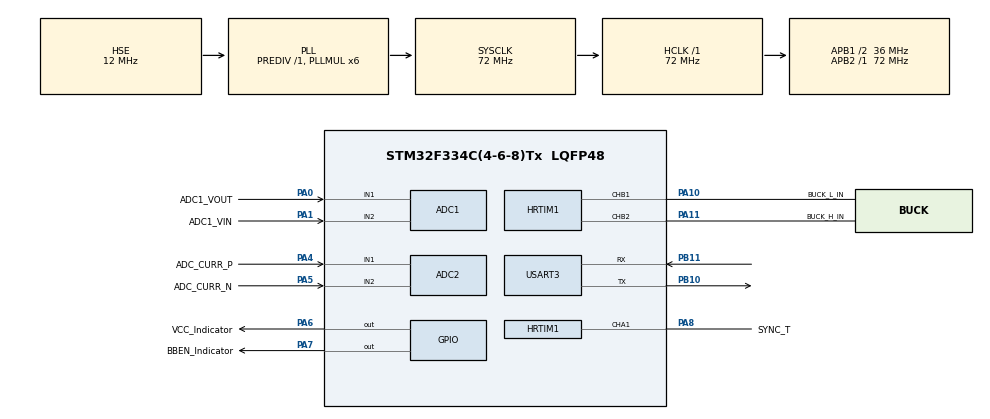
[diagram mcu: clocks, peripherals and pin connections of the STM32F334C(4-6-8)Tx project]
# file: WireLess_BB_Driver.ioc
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ADC1.AWD1HighThreshold=4095
ADC1.Channel-0\#ChannelRegularConversion=ADC_CHANNEL_1
ADC1.Channel-1\#ChannelRegularConversion=ADC_CHANNEL_2
ADC1.ClockPrescaler=ADC_CLOCK_ASYNC_DIV1
ADC1.ContinuousConvMode=DISABLE
ADC1.DMAContinuousRequests=ENABLE
ADC1.EnableAnalogWatchDog1=true
ADC1.EnableAnalogWatchDog2=false
ADC1.EnableInjectedConversion=DISABLE
ADC1.ExternalTrigConv=ADC_EXTERNALTRIGCONVHRTIM_TRG1
ADC1.NbrOfConversion=2
ADC1.NbrOfConversionFlag=1
ADC1.Offset-0\#ChannelRegularConversion=0
ADC1.Offset-1\#ChannelRegularConversion=0
ADC1.OffsetNumber-0\#ChannelRegularConversion=ADC_OFFSET_NONE
ADC1.OffsetNumber-1\#ChannelRegularConversion=ADC_OFFSET_NONE
ADC1.Overrun=ADC_OVR_DATA_OVERWRITTEN
ADC1.Rank-0\#ChannelRegularConversion=1
ADC1.Rank-1\#ChannelRegularConversion=2
ADC1.SamplingTime-0\#ChannelRegularConversion=ADC_SAMPLETIME_7CYCLES_5
ADC1.SamplingTime-1\#ChannelRegularConversion=ADC_SAMPLETIME_7CYCLES_5
ADC1.SequencerNbRanks=2
ADC1.SubFamily=STM32F334x8
ADC1.master=1
ADC2.Channel-0\#ChannelRegularConversion=ADC_CHANNEL_1
ADC2.ContinuousConvMode=DISABLE
ADC2.DMAContinuousRequests=ENABLE
ADC2.ExternalTrigConv=ADC_EXTERNALTRIGCONVHRTIM_TRG3
ADC2.NbrOfConversion=1
ADC2.NbrOfConversionFlag=1
ADC2.Offset-0\#ChannelRegularConversion=0
ADC2.OffsetNumber-0\#ChannelRegularConversion=ADC_OFFSET_NONE
ADC2.Rank-0\#ChannelRegularConversion=1
ADC2.SamplingTime-0\#ChannelRegularConversion=ADC_SAMPLETIME_7CYCLES_5
ADC2.SequencerNbRanks=1
ADC2.SingleDiff-0\#ChannelRegularConversion=ADC_DIFFERENTIAL_ENDED
ADC2.SubFamily=STM32F334x8
Dma.ADC1.0.Direction=DMA_PERIPH_TO_MEMORY
Dma.ADC1.0.Instance=DMA1_Channel1
Dma.ADC1.0.MemDataAlignment=DMA_MDATAALIGN_HALFWORD
Dma.ADC1.0.MemInc=DMA_MINC_ENABLE
Dma.ADC1.0.Mode=DMA_CIRCULAR
Dma.ADC1.0.PeriphDataAlignment=DMA_PDATAALIGN_HALFWORD
Dma.ADC1.0.PeriphInc=DMA_PINC_DISABLE
Dma.ADC1.0.Priority=DMA_PRIORITY_LOW
Dma.ADC2.1.Direction=DMA_PERIPH_TO_MEMORY
Dma.ADC2.1.Instance=DMA1_Channel4
Dma.ADC2.1.MemDataAlignment=DMA_MDATAALIGN_HALFWORD
Dma.ADC2.1.MemInc=DMA_MINC_ENABLE
Dma.ADC2.1.Mode=DMA_CIRCULAR
Dma.ADC2.1.PeriphDataAlignment=DMA_PDATAALIGN_HALFWORD
Dma.ADC2.1.PeriphInc=DMA_PINC_DISABLE
Dma.ADC2.1.Priority=DMA_PRIORITY_LOW
Dma.Request0=ADC1
Dma.Request1=ADC2
Dma.Request2=USART3_RX
Dma.Request3=USART3_TX
Dma.USART3_RX.2.Direction=DMA_PERIPH_TO_MEMORY
Dma.USART3_RX.2.Instance=DMA1_Channel3
Dma.USART3_RX.2.MemDataAlignment=DMA_MDATAALIGN_BYTE
Dma.USART3_RX.2.MemInc=DMA_MINC_ENABLE
Dma.USART3_RX.2.Mode=DMA_NORMAL
Dma.USART3_RX.2.PeriphDataAlignment=DMA_PDATAALIGN_BYTE
Dma.USART3_RX.2.PeriphInc=DMA_PINC_DISABLE
Dma.USART3_RX.2.Priority=DMA_PRIORITY_LOW
Dma.USART3_TX.3.Direction=DMA_MEMORY_TO_PERIPH
Dma.USART3_TX.3.Instance=DMA1_Channel2
Dma.USART3_TX.3.MemDataAlignment=DMA_MDATAALIGN_BYTE
Dma.USART3_TX.3.MemInc=DMA_MINC_DISABLE
Dma.USART3_TX.3.Mode=DMA_NORMAL
Dma.USART3_TX.3.PeriphDataAlignment=DMA_PDATAALIGN_BYTE
Dma.USART3_TX.3.PeriphInc=DMA_PINC_DISABLE
Dma.USART3_TX.3.Priority=DMA_PRIORITY_LOW
HRTIM1.ADCTrigger1_Source1=HRTIM_ADCTRIGGEREVENT13_TIMERC_CMP2
HRTIM1.ADCTrigger3_Source1=HRTIM_ADCTRIGGEREVENT13_TIMERC_CMP3
HRTIM1.ADCTrigger_Id1=HRTIM_ADCTRIGGER_1
HRTIM1.ADCTrigger_Id2=__NULL
HRTIM1.ADCTrigger_Id3=HRTIM_ADCTRIGGER_3
HRTIM1.BurstDMAconfig-No_output_TC=__NULL
HRTIM1.CompareUnit1-Output_TA1=__NULL
HRTIM1.CompareUnit1-Output_TB1TB2=HRTIM_COMPAREUNIT_1
HRTIM1.CompareUnit2-No_output_TC=HRTIM_COMPAREUNIT_2
HRTIM1.CompareUnit2-Output_TA1=HRTIM_COMPAREUNIT_2
HRTIM1.CompareUnit2-Output_TB1TB2=HRTIM_COMPAREUNIT_2
HRTIM1.CompareUnit3-No_output_TC=HRTIM_COMPAREUNIT_3
HRTIM1.CompareUnit3-Output_TA1=HRTIM_COMPAREUNIT_3
HRTIM1.CompareUnit3-Output_TB1TB2=__NULL
HRTIM1.CompareUnit4-Output_TA1=HRTIM_COMPAREUNIT_4
HRTIM1.CompareValue1-Output_TB1TB2=(Hrtim_Period - Hrtim_Period/2)/2*0.95
HRTIM1.CompareValue2-No_output_TC=Hrtim_Period/4
HRTIM1.CompareValue2-Output_TA1=Hrtim_Period
HRTIM1.CompareValue2-Output_TB1TB2=(Hrtim_Period + Hrtim_Period/2)/2*0.95
HRTIM1.CompareValue3-No_output_TC=Hrtim_Period/4+96
HRTIM1.CompareValue3-Output_TA1=Hrtim_Period/32
HRTIM1.CompareValue4-Output_TA1=Hrtim_Period/32+96
HRTIM1.DeadTimeInsertion-Output_TB1TB2=HRTIM_TIMDEADTIMEINSERTION_ENABLED
HRTIM1.Event_EEV1=__NULL
HRTIM1.FallingLock-Output_TB1TB2=HRTIM_TIMDEADTIME_FALLINGLOCK_READONLY
HRTIM1.FallingValue-Output_TB1TB2=10
HRTIM1.NumberADCTriggerSource1=1
HRTIM1.NumberADCTriggerSource3=1
HRTIM1.NumberResetSource1-Output_TA1=1
HRTIM1.NumberResetSource1-Output_TB1TB2=1
HRTIM1.NumberResetTrigger-No_output_TC=1
HRTIM1.NumberResetTrigger-Output_TA1=1
HRTIM1.NumberResetTrigger-Output_TB1TB2=2
HRTIM1.NumberSetSource1-Output_TA1=1
HRTIM1.NumberSetSource1-Output_TB1TB2=1
HRTIM1.NumberUpdateTrigger-No_output_TC=0
HRTIM1.NumberUpdateTrigger-Output_TA1=0
HRTIM1.ORingUpdateSource_ADCTrigger1=HRTIM_ADCTRIGGERUPDATE_TIMER_C
HRTIM1.ORingUpdateSource_ADCTrigger3=HRTIM_ADCTRIGGERUPDATE_TIMER_C
HRTIM1.Periode_TA=Hrtim_Period
HRTIM1.Periode_TB=Hrtim_Period
HRTIM1.Periode_TC=Hrtim_Period
HRTIM1.Polarity2-Output_TB1TB2=HRTIM_OUTPUTPOLARITY_HIGH
HRTIM1.PrescalerDead-Output_TB1TB2=HRTIM_TIMDEADTIME_PRESCALERRATIO_DIV1
HRTIM1.PrescalerRatio_TA=HRTIM_PRESCALERRATIO_MUL2
HRTIM1.PrescalerRatio_TC=HRTIM_PRESCALERRATIO_MUL16
HRTIM1.PushPull-Output_TB1TB2=HRTIM_TIMPUSHPULLMODE_DISABLED
HRTIM1.ResetOutput1_Source1-Output_TA1=HRTIM_OUTPUTRESET_TIMCMP4
HRTIM1.ResetOutput1_Source1-Output_TB1TB2=HRTIM_OUTPUTRESET_TIMCMP2
HRTIM1.ResetTrigger1-No_output_TC=HRTIM_TIMRESETTRIGGER_OTHER1_CMP2
HRTIM1.ResetTrigger1-Output_TA1=HRTIM_TIMRESETTRIGGER_CMP2
HRTIM1.ResetTrigger1-Output_TB1TB2=HRTIM_TIMRESETTRIGGER_UPDATE
HRTIM1.ResetTrigger2-Output_TB1TB2=HRTIM_TIMRESETTRIGGER_OTHER1_CMP2
HRTIM1.ResetUpdate-No_output_TC=HRTIM_TIMUPDATEONRESET_ENABLED
HRTIM1.ResetUpdate-Output_TA1=HRTIM_TIMUPDATEONRESET_ENABLED
HRTIM1.RisingLock-Output_TB1TB2=HRTIM_TIMDEADTIME_RISINGLOCK_READONLY
HRTIM1.RisingValue-Output_TB1TB2=10
HRTIM1.SetOutput1_Source1-Output_TA1=HRTIM_OUTPUTSET_TIMCMP3
HRTIM1.SetOutput1_Source1-Output_TB1TB2=HRTIM_OUTPUTSET_TIMCMP1
HRTIM1.UpdateGating-Output_TB1TB2=HRTIM_UPDATEGATING_DMABURST
Mcu.Family=STM32F3
Mcu.Name=STM32F334C(4-6-8)Tx
Mcu.Package=LQFP48
Mcu.UserConstants=L_duty,0.05f;deadtime,100;H_duty,0.95f;Hrtim_Period,23040
NVIC.DMA1_Channel1_IRQn=true\:1\:0\:true\:false\:true\:false\:true\:true
NVIC.DMA1_Channel2_IRQn=true\:1\:0\:true\:false\:true\:false\:true\:true
NVIC.DMA1_Channel3_IRQn=true\:1\:0\:true\:false\:true\:false\:true\:true
NVIC.DMA1_Channel4_IRQn=true\:1\:0\:true\:false\:true\:false\:true\:true
NVIC.PriorityGroup=NVIC_PRIORITYGROUP_4
NVIC.TIM1_TRG_COM_TIM17_IRQn=true\:0\:0\:true\:false\:true\:false\:true\:true
NVIC.TIM2_IRQn=true\:0\:0\:false\:false\:true\:true\:true\:true
NVIC.TimeBase=TIM1_TRG_COM_TIM17_IRQn
NVIC.TimeBaseIP=TIM17
NVIC.USART3_IRQn=true\:0\:0\:false\:false\:true\:true\:true\:true
PA0.GPIO_Label=ADC1_VOUT
PA0.Mode=IN1-Single-Ended
PA0.Signal=ADC1_IN1
PA1.GPIO_Label=ADC1_VIN
PA1.Mode=IN2-Single-Ended
PA1.Signal=ADC1_IN2
PA10.GPIO_Label=BUCK_L_IN
PA10.Mode=Output_TB1TB2
PA10.Signal=HRTIM1_CHB1
PA11.GPIO_Label=BUCK_H_IN
PA11.Mode=Output_TB1TB2
PA11.Signal=HRTIM1_CHB2
PA13.Mode=Serial_Wire
PA13.Signal=SYS_JTMS-SWDIO
PA14.Mode=Serial_Wire
PA14.Signal=SYS_JTCK-SWCLK
PA4.GPIO_Label=ADC_CURR_P
PA4.Mode=IN1-Differential
PA4.Signal=ADC2_IN1
PA5.GPIO_Label=ADC_CURR_N
PA5.Mode=IN1-Differential
PA5.Signal=ADC2_IN2
PA6.GPIO_Label=VCC_Indicator
PA6.Signal=GPIO_Output
PA7.GPIO_Label=BBEN_Indicator
PA7.GPIO_PuPd=GPIO_PULLDOWN
PA7.Signal=GPIO_Output
PA8.GPIO_Label=SYNC_T
PA8.Mode=Output_TA1
PA8.Signal=HRTIM1_CHA1
PB10.Mode=Asynchronous
PB10.Signal=USART3_TX
PB11.Mode=Asynchronous
PB11.Signal=USART3_RX
PF0\ /\ OSC_IN.Mode=HSE-External-Oscillator
PF0\ /\ OSC_IN.Signal=RCC_OSC_IN
PF1\ /\ OSC_OUT.Mode=HSE-External-Oscillator
PF1\ /\ OSC_OUT.Signal=RCC_OSC_OUT
ProjectManager.HeapSize=0x200
ProjectManager.StackSize=0x400
ProjectManager.TargetToolchain=Makefile
RCC.ADC12PRES=RCC_ADC12PLLCLK_DIV2
RCC.AHBFreq_Value=72000000
RCC.APB1CLKDivider=RCC_HCLK_DIV2
RCC.APB1Freq_Value=36000000
RCC.APB1TimFreq_Value=72000000
RCC.APB2Freq_Value=72000000
RCC.APB2TimFreq_Value=72000000
RCC.CortexFreq_Value=72000000
RCC.HCLKFreq_Value=72000000
RCC.HRTIMSelection=RCC_HRTIM1CLK_PLLCLK
RCC.HSE_VALUE=12000000
RCC.HSI_VALUE=8000000
RCC.LSE_VALUE=32768
RCC.PLLMUL=RCC_PLL_MUL6
RCC.PLLSourceVirtual=RCC_PLLSOURCE_HSE
RCC.SYSCLKFreq_VALUE=72000000
RCC.SYSCLKSourceVirtual=RCC_SYSCLKSOURCE_PLLCLK
TIM2.Period=100-1
TIM2.Prescaler=72-1
USART3.OverSampling=UART_OVERSAMPLING_8
USART3.VirtualMode-Asynchronous=VM_ASYNC
VP_HRTIM1_VS_hrtimTimerCNoOutput.Mode=No_output_TC
VP_SYS_VS_tim17.Mode=TIM17
VP_TIM2_VS_ClockSourceINT.Mode=Internal
board=custom

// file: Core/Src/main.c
/* USER CODE BEGIN Header */
/**
  ******************************************************************************
  * @file           : main.c
  * @brief          : Main program body
  ******************************************************************************
  * @attention
  *
  * Copyright (c) 2025 STMicroelectronics.
  * All rights reserved.
  *
  * This software is licensed under terms that can be found in the LICENSE file
  * in the root directory of this software component.
  * If no LICENSE file comes with this software, it is provided AS-IS.
  *
  ******************************************************************************
  */
/* USER CODE END Header */
#include "main.h"
#include "adc.h"
#include "dma.h"
#include "hrtim.h"
#include "tim.h"
#include "usart.h"
#include "gpio.h"

/* USER CODE BEGIN Includes */
#include "bsp_adc.h"
#include "bsp_dwt.h"
#include "bsp_uart.h"
#include "bb_control.h"
#include "board_id.h"
#include "detect_task.h"
/* USER CODE END Includes */

/* USER CODE BEGIN PV */
GPIO_PinState switch_on_off;
/* USER CODE END PV */

void SystemClock_Config(void);

int main(void)
{

  /* MCU Configuration--------------------------------------------------------*/

  /* Reset of all peripherals, Initializes the Flash interface and the Systick. */
  HAL_Init();

  /* Configure the system clock */
  SystemClock_Config();

  /* Initialize all configured peripherals */
  MX_GPIO_Init();
  MX_DMA_Init();
  MX_ADC1_Init();
  MX_HRTIM1_Init();
  MX_TIM2_Init();
  MX_ADC2_Init();
  MX_USART3_UART_Init();
  /* USER CODE BEGIN 2 */

  IDCard = BoardID_Detect();
  while (!BoardID_IsValid(IDCard)) {}

  HRTIM1->sMasterRegs.MCMP1R = Hrtim_Period;
  HRTIM1->sMasterRegs.MCMP2R = 0;
  DWT_Init(72);
  DWT_Delay(1.25);

  BB_Control_Init();
  Detect_Init();
  Bsp_UART_Init();
  HAL_TIM_Base_Start_IT(&htim2);
  Bsp_ADC_Init();
  // HAL_TIM_Base_Start_IT(&htim15);

  /* USER CODE END 2 */

  /* Infinite loop */
  /* USER CODE BEGIN WHILE */
  while (1)
  {
    // switch_on_off = HAL_GPIO_ReadPin(GPIOB,GPIO_PIN_10);
    // HAL_GPIO_WritePin(GPIOA,GPIO_PIN_7,switch_on_off);

    /* USER CODE END WHILE */

    /* USER CODE BEGIN 3 */
    //HAL_Delay(1);
  }
  /* USER CODE END 3 */
}

void SystemClock_Config(void)
{
  RCC_OscInitTypeDef RCC_OscInitStruct = {0};
  RCC_ClkInitTypeDef RCC_ClkInitStruct = {0};
  RCC_PeriphCLKInitTypeDef PeriphClkInit = {0};

  /** Initializes the RCC Oscillators according to the specified parameters
  * in the RCC_OscInitTypeDef structure.
  */
  RCC_OscInitStruct.OscillatorType = RCC_OSCILLATORTYPE_HSE;
  RCC_OscInitStruct.HSEState = RCC_HSE_ON;
  RCC_OscInitStruct.HSEPredivValue = RCC_HSE_PREDIV_DIV1;
  RCC_OscInitStruct.HSIState = RCC_HSI_ON;
  RCC_OscInitStruct.PLL.PLLState = RCC_PLL_ON;
  RCC_OscInitStruct.PLL.PLLSource = RCC_PLLSOURCE_HSE;
  RCC_OscInitStruct.PLL.PLLMUL = RCC_PLL_MUL6;
  if (HAL_RCC_OscConfig(&RCC_OscInitStruct) != HAL_OK)
  {
    Error_Handler();
  }

  /** Initializes the CPU, AHB and APB buses clocks
  */
  RCC_ClkInitStruct.ClockType = RCC_CLOCKTYPE_HCLK|RCC_CLOCKTYPE_SYSCLK
                              |RCC_CLOCKTYPE_PCLK1|RCC_CLOCKTYPE_PCLK2;
  RCC_ClkInitStruct.SYSCLKSource = RCC_SYSCLKSOURCE_PLLCLK;
  RCC_ClkInitStruct.AHBCLKDivider = RCC_SYSCLK_DIV1;
  RCC_ClkInitStruct.APB1CLKDivider = RCC_HCLK_DIV2;
  RCC_ClkInitStruct.APB2CLKDivider = RCC_HCLK_DIV1;

  if (HAL_RCC_ClockConfig(&RCC_ClkInitStruct, FLASH_LATENCY_2) != HAL_OK)
  {
    Error_Handler();
  }
  PeriphClkInit.PeriphClockSelection = RCC_PERIPHCLK_HRTIM1|RCC_PERIPHCLK_ADC12;
  PeriphClkInit.Adc12ClockSelection = RCC_ADC12PLLCLK_DIV2;
  PeriphClkInit.Hrtim1ClockSelection = RCC_HRTIM1CLK_PLLCLK;
  if (HAL_RCCEx_PeriphCLKConfig(&PeriphClkInit) != HAL_OK)
  {
    Error_Handler();
  }
}

void HAL_TIM_PeriodElapsedCallback(TIM_HandleTypeDef *htim)
{
  /* USER CODE BEGIN Callback 0 */
  static uint32_t count = 0;
  // 10kHz
  if (htim->Instance == TIM2)
  {
      count++;
      Bsp_ADC_ProcessSample();
      Buck_Boost_Task();
      if (count >= 10)
      {
          Detect_Task();
          count = 0;
      }
  }
  /* USER CODE END Callback 0 */
  if (htim->Instance == TIM17) {
    HAL_IncTick();
  }
}

void Error_Handler(void)
{
  __disable_irq();
  while (1)
  {
  }
}
